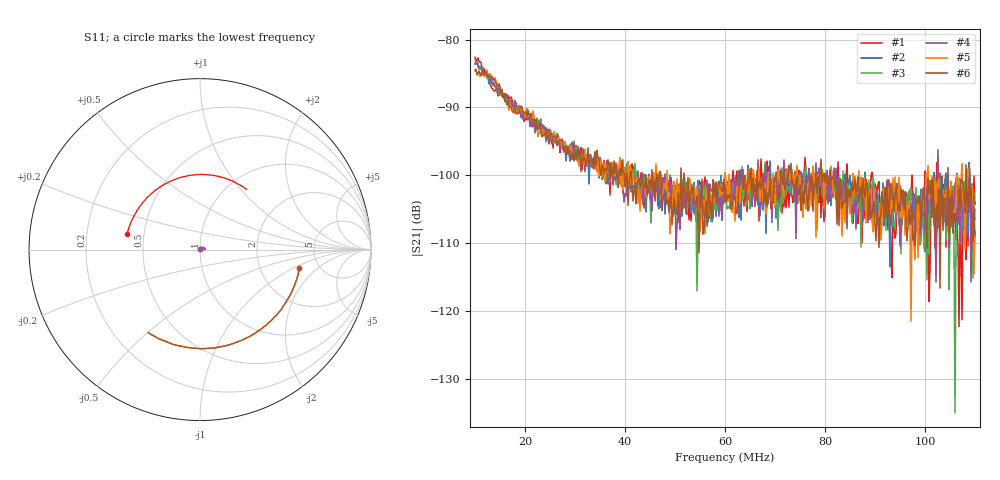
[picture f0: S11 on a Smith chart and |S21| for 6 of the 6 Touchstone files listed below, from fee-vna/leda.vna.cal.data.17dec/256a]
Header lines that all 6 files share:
! Anritsu VNA Master:  Model: MS2036C/10/77
! SN:  1601066
! Existing Calibration Information:
! TYPE:  Current Settings,  Active Cal Settings
! # POINTS:  501,  501
! START FREQ:  10.000 MHz,  10.000 MHz
! STOP FREQ:  110.000 MHz,  110.000 MHz
! SOURCE POWER:  High,  High
! IFBW:  100 Hz,  100 Hz
! AVG FACTOR:  1 ,  1
! REF PLANE 1:  0 mm,  0 mm
! REF PLANE 2:  0 mm,  0 mm
! CAL TYPE:  Full S11,  Full S11
! CAL METHOD:  SOLT,  SOLT
! CAL LINE TYPE:  Coax,  Coax
! DUT PORT 1:  N-Conn(F),  N-Conn(F)
! DUT PORT 2:  K-Conn(F),  K-Conn(F)
! CAL STATUS:  OK: Accuracy High,  --
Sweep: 10 MHz to 110 MHz
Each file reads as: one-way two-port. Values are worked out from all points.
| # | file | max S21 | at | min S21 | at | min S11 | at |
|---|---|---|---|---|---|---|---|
| 1 | 256.ew.sma.r20.11.s2p | -82.60 dB | 10 MHz | -122.3 dB | 106.8 MHz | -7.3 dB | 35 MHz |
| 2 | 256.ew.sma.r50.11.s2p | -83.53 dB | 10.6 MHz | -113.5 dB | 93 MHz | -44.9 dB | 10 MHz |
| 3 | 256.ew.sma.r50.12.s2p | -82.92 dB | 10 MHz | -135.1 dB | 106 MHz | -45.0 dB | 10.2 MHz |
| 4 | 256.ew.sma.r50.22.s2p | -83.11 dB | 10.2 MHz | -115.8 dB | 102.2 MHz | -44.9 dB | 11.6 MHz |
| 5 | 256.ew.sma.r200.11.s2p | -84.38 dB | 10.2 MHz | -121.5 dB | 97.2 MHz | -4.8 dB | 106.4 MHz |
| 6 | 256.ew.sma.r200.21.s2p | -84.38 dB | 10.2 MHz | -116.6 dB | 103 MHz | -4.9 dB | 100.8 MHz |
